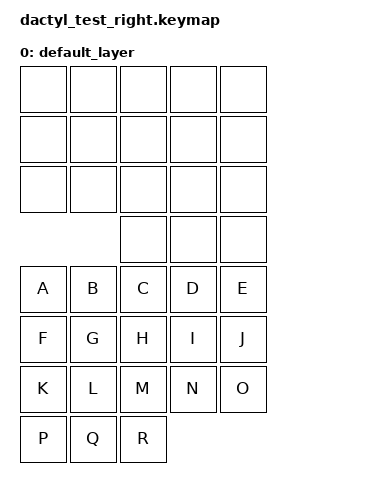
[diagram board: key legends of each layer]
#include <behaviors.dtsi>
#include <dt-bindings/zmk/keys.h>

/ {
    keymap {
        compatible = "zmk,keymap";
        default_layer {
            bindings = <
                &none &none &none &none &none
                &none &none &none &none &none
                &none &none &none &none &none
                            &none &none &none

                &kp A &kp B &kp C &kp D &kp E
                &kp F &kp G &kp H &kp I &kp J
                &kp K &kp L &kp M &kp N &kp O
                &kp P &kp Q &kp R
            >;
        };
    };
};
